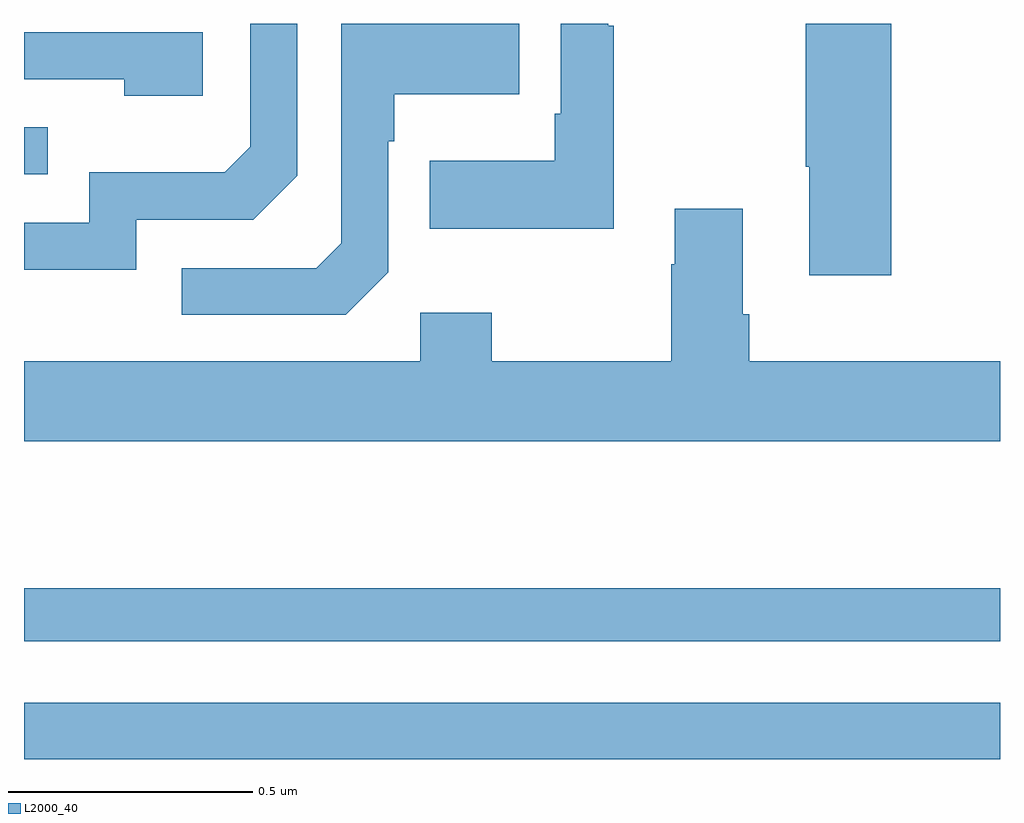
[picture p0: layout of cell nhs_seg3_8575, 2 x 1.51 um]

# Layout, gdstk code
import gdstk
lib = gdstk.Library(unit=1e-6, precision=1e-09)
def R(c, l, rs):  # rectangles x0, y0, x1, y1
    for r in rs: c.add(gdstk.rectangle(r[:2], r[2:], *l))
def P(c, l, *ps):  # polygons
    for p in ps: c.add(gdstk.Polygon(p, *l))
L2000_40 = (2000, 40)

nhs_seg3_8575 = lib.new_cell('nhs_seg3_8575')
R(nhs_seg3_8575, L2000_40, [(217,738.892,219,739.008), (217,739.134,219,739.243), (217,740.091,217.049,740.187)])
P(nhs_seg3_8575, L2000_40, [(217.23,739.998),(217.47,739.998),(217.56,740.088),(217.56,740.4),(217.464,740.4),(217.464,740.148),(217.411,740.095),(217.134,740.095),(217.134,739.992),(217,739.992),(217,739.896),(217.23,739.896)],
  [(218.209,740.395),(218.197,740.395),(218.197,740.4),(218.1,740.4),(218.1,740.215),(218.088,740.215),(218.088,740.119),(217.831,740.119),(217.831,739.979),(218.209,739.979)],
  [(218.777,740.4),(218.602,740.4),(218.602,740.107),(218.609,740.107),(218.609,739.884),(218.777,739.884)],
  [(217.746,739.89),(217.746,740.159),(217.759,740.159),(217.759,740.255),(218.015,740.255),(218.015,740.4),(217.65,740.4),(217.65,739.95),(217.599,739.899),(217.323,739.899),(217.323,739.803),(217.659,739.803)],
  [(217.366,740.382),(217,740.382),(217,740.286),(217.205,740.286),(217.205,740.252),(217.366,740.252)],
  [(219,739.708),(218.486,739.708),(218.486,739.804),(218.473,739.804),(218.473,740.02),(218.333,740.02),(218.333,739.907),(218.326,739.907),(218.326,739.708),(217.959,739.708),(217.959,739.807),(217.812,739.807),(217.812,739.708),(217,739.708),(217,739.544),(219,739.544)])

lib.write_gds('nhs_seg3_8575.gds')
